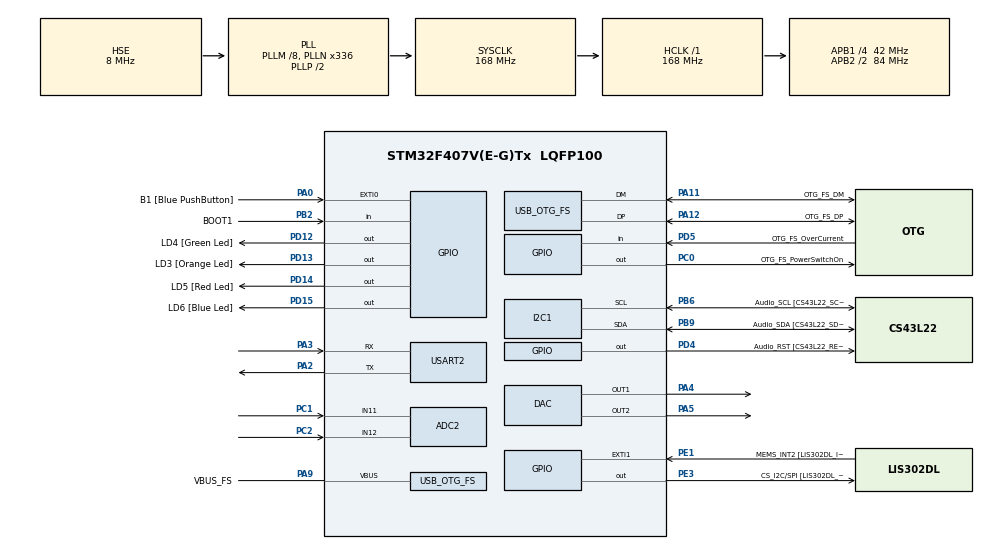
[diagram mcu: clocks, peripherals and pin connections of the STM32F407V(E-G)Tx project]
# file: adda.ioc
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ADC1.Channel-1\#ChannelRegularConversion=ADC_CHANNEL_11
ADC1.NbrOfConversionFlag=1
ADC1.Rank-1\#ChannelRegularConversion=1
ADC1.SamplingTime-1\#ChannelRegularConversion=ADC_SAMPLETIME_3CYCLES
ADC1.master=1
ADC2.Channel-0\#ChannelRegularConversion=ADC_CHANNEL_12
ADC2.NbrOfConversionFlag=1
ADC2.Rank-0\#ChannelRegularConversion=1
ADC2.SamplingTime-0\#ChannelRegularConversion=ADC_SAMPLETIME_3CYCLES
Mcu.Family=STM32F4
Mcu.Name=STM32F407V(E-G)Tx
Mcu.Package=LQFP100
NVIC.OTG_FS_IRQn=true\:0\:0\:false\:false\:true\:true\:true\:true
NVIC.PriorityGroup=NVIC_PRIORITYGROUP_0
NVIC.TIM3_IRQn=true\:0\:0\:false\:false\:true\:true\:true\:true
NVIC.TIM7_IRQn=true\:0\:0\:false\:false\:true\:true\:true\:true
PA0-WKUP.GPIO_Label=B1 [Blue PushButton]
PA0-WKUP.GPIO_ModeDefaultEXTI=GPIO_MODE_EVT_RISING
PA0-WKUP.GPIO_PuPd=GPIO_NOPULL
PA0-WKUP.Signal=GPXTI0
PA10.GPIO_Label=OTG_FS_ID
PA10.GPIO_Mode=GPIO_MODE_AF_PP
PA10.GPIO_PuPd=GPIO_NOPULL
PA10.GPIO_Speed=GPIO_SPEED_FREQ_LOW
PA10.Signal=USB_OTG_FS_ID
PA11.GPIO_Label=OTG_FS_DM
PA11.GPIO_Mode=GPIO_MODE_AF_PP
PA11.GPIO_PuPd=GPIO_NOPULL
PA11.GPIO_Speed=GPIO_SPEED_FREQ_LOW
PA11.Mode=Host_Only
PA11.Signal=USB_OTG_FS_DM
PA12.GPIO_Label=OTG_FS_DP
PA12.GPIO_Mode=GPIO_MODE_AF_PP
PA12.GPIO_PuPd=GPIO_NOPULL
PA12.GPIO_Speed=GPIO_SPEED_FREQ_LOW
PA12.Mode=Host_Only
PA12.Signal=USB_OTG_FS_DP
PA13.GPIO_Label=SWDIO
PA13.Mode=Serial_Wire
PA13.Signal=SYS_JTMS-SWDIO
PA14.GPIO_Label=SWCLK
PA14.Mode=Serial_Wire
PA14.Signal=SYS_JTCK-SWCLK
PA2.Mode=Asynchronous
PA2.Signal=USART2_TX
PA3.Mode=Asynchronous
PA3.Signal=USART2_RX
PA4.Signal=COMP_DAC1_group
PA5.Signal=COMP_DAC2_group
PA6.GPIO_Label=SPI1_MISO [LIS302DL_SDO]
PA6.GPIO_Mode=GPIO_MODE_AF_PP
PA6.GPIO_PuPd=GPIO_NOPULL
PA6.GPIO_Speed=GPIO_SPEED_FREQ_LOW
PA6.Signal=SPI1_MISO
PA7.GPIO_Label=SPI1_MOSI [LIS302DL_SDA/SDI/SDO]
PA7.GPIO_Mode=GPIO_MODE_AF_PP
PA7.GPIO_PuPd=GPIO_NOPULL
PA7.GPIO_Speed=GPIO_SPEED_FREQ_LOW
PA7.Signal=SPI1_MOSI
PA9.GPIO_Label=VBUS_FS
PA9.GPIO_Mode=GPIO_MODE_INPUT
PA9.GPIO_PuPd=GPIO_NOPULL
PA9.Mode=Activate_VBUS
PA9.Signal=USB_OTG_FS_VBUS
PB10.GPIO_Label=CLK_IN [MP45DT02_CLK]
PB10.GPIO_Mode=GPIO_MODE_AF_PP
PB10.GPIO_PuPd=GPIO_NOPULL
PB10.GPIO_Speed=GPIO_SPEED_FREQ_LOW
PB10.Signal=I2S2_CK
PB2.GPIO_Label=BOOT1
PB2.GPIO_Mode=GPIO_MODE_INPUT
PB2.GPIO_PuPd=GPIO_NOPULL
PB2.Signal=GPIO_Input
PB3.GPIO_Label=SWO
PB3.Signal=SYS_JTDO-SWO
PB6.GPIO_Label=Audio_SCL [CS43L22_SCL]
PB6.GPIO_Mode=GPIO_MODE_AF_OD
PB6.GPIO_Pu=GPIO_PULLUP
PB6.GPIO_PuPd=GPIO_NOPULL
PB6.GPIO_Speed=GPIO_SPEED_FREQ_LOW
PB6.Mode=I2C
PB6.Signal=I2C1_SCL
PB9.GPIO_Label=Audio_SDA [CS43L22_SDA]
PB9.GPIO_Mode=GPIO_MODE_AF_OD
PB9.GPIO_Pu=GPIO_PULLUP
PB9.GPIO_PuPd=GPIO_NOPULL
PB9.GPIO_Speed=GPIO_SPEED_FREQ_LOW
PB9.Mode=I2C
PB9.Signal=I2C1_SDA
PC0.GPIO_Label=OTG_FS_PowerSwitchOn
PC0.GPIO_PuPd=GPIO_NOPULL
PC0.GPIO_Speed=GPIO_SPEED_FREQ_LOW
PC0.PinState=GPIO_PIN_SET
PC0.Signal=GPIO_Output
PC1.Signal=ADCx_IN11
PC10.GPIO_Label=I2S3_SCK [CS43L22_SCLK]
PC10.GPIO_Mode=GPIO_MODE_AF_PP
PC10.GPIO_PuPd=GPIO_NOPULL
PC10.GPIO_Speed=GPIO_SPEED_FREQ_LOW
PC10.Signal=I2S3_CK
PC12.GPIO_Label=I2S3_SD [CS43L22_SDIN]
PC12.GPIO_Mode=GPIO_MODE_AF_PP
PC12.GPIO_PuPd=GPIO_NOPULL
PC12.GPIO_Speed=GPIO_SPEED_FREQ_LOW
PC12.Signal=I2S3_SD
PC14-OSC32_IN.GPIO_Label=PC14-OSC32_IN
PC14-OSC32_IN.Mode=LSE-External-Oscillator
PC14-OSC32_IN.Signal=RCC_OSC32_IN
PC15-OSC32_OUT.GPIO_Label=PC15-OSC32_OUT
PC15-OSC32_OUT.Mode=LSE-External-Oscillator
PC15-OSC32_OUT.Signal=RCC_OSC32_OUT
PC2.Signal=ADCx_IN12
PC3.GPIO_Label=PDM_OUT [MP45DT02_DOUT]
PC3.GPIO_Mode=GPIO_MODE_AF_PP
PC3.GPIO_PuPd=GPIO_NOPULL
PC3.GPIO_Speed=GPIO_SPEED_FREQ_LOW
PC3.Signal=I2S2_SD
PC7.GPIO_Label=I2S3_MCK [CS43L22_MCLK]
PC7.GPIO_Mode=GPIO_MODE_AF_PP
PC7.GPIO_PuPd=GPIO_NOPULL
PC7.GPIO_Speed=GPIO_SPEED_FREQ_LOW
PC7.Signal=I2S3_MCK
PD12.GPIO_Label=LD4 [Green Led]
PD12.GPIO_PuPd=GPIO_NOPULL
PD12.GPIO_Speed=GPIO_SPEED_FREQ_LOW
PD12.Signal=GPIO_Output
PD13.GPIO_Label=LD3 [Orange Led]
PD13.GPIO_PuPd=GPIO_NOPULL
PD13.GPIO_Speed=GPIO_SPEED_FREQ_LOW
PD13.Signal=GPIO_Output
PD14.GPIO_Label=LD5 [Red Led]
PD14.GPIO_PuPd=GPIO_NOPULL
PD14.GPIO_Speed=GPIO_SPEED_FREQ_LOW
PD14.Signal=GPIO_Output
PD15.GPIO_Label=LD6 [Blue Led]
PD15.GPIO_PuPd=GPIO_NOPULL
PD15.GPIO_Speed=GPIO_SPEED_FREQ_LOW
PD15.Signal=GPIO_Output
PD4.GPIO_Label=Audio_RST [CS43L22_RESET]
PD4.GPIO_PuPd=GPIO_NOPULL
PD4.GPIO_Speed=GPIO_SPEED_FREQ_LOW
PD4.Signal=GPIO_Output
PD5.GPIO_Label=OTG_FS_OverCurrent
PD5.GPIO_Mode=GPIO_MODE_INPUT
PD5.GPIO_PuPd=GPIO_NOPULL
PD5.Signal=GPIO_Input
PE1.GPIO_Label=MEMS_INT2 [LIS302DL_INT2]
PE1.GPIO_ModeDefaultEXTI=GPIO_MODE_EVT_RISING
PE1.GPIO_PuPd=GPIO_NOPULL
PE1.Signal=GPXTI1
PE3.GPIO_Label=CS_I2C/SPI [LIS302DL_CS_I2C/SPI]
PE3.GPIO_PuPd=GPIO_NOPULL
PE3.GPIO_Speed=GPIO_SPEED_FREQ_LOW
PE3.Signal=GPIO_Output
PH0-OSC_IN.GPIO_Label=PH0-OSC_IN
PH0-OSC_IN.Mode=HSE-External-Oscillator
PH0-OSC_IN.Signal=RCC_OSC_IN
PH1-OSC_OUT.GPIO_Label=PH1-OSC_OUT
PH1-OSC_OUT.Mode=HSE-External-Oscillator
PH1-OSC_OUT.Signal=RCC_OSC_OUT
ProjectManager.HeapSize=0x200
ProjectManager.StackSize=0x400
ProjectManager.TargetToolchain=STM32CubeIDE
RCC.48MHZClocksFreq_Value=48000000
RCC.AHBFreq_Value=168000000
RCC.APB1CLKDivider=RCC_HCLK_DIV4
RCC.APB1Freq_Value=42000000
RCC.APB1TimFreq_Value=84000000
RCC.APB2CLKDivider=RCC_HCLK_DIV2
RCC.APB2Freq_Value=84000000
RCC.APB2TimFreq_Value=168000000
RCC.CortexFreq_Value=168000000
RCC.HCLKFreq_Value=168000000
RCC.HSE_VALUE=8000000
RCC.HSI_VALUE=16000000
RCC.PLLM=8
RCC.PLLN=336
RCC.PLLQ=7
RCC.SYSCLKFreq_VALUE=168000000
RCC.SYSCLKSource=RCC_SYSCLKSOURCE_PLLCLK
RCC.VCOOutputFreq_Value=336000000
SH.ADCx_IN11.0=ADC2_IN11,IN11
SH.ADCx_IN11.1=ADC1_IN11,IN11
SH.ADCx_IN12.0=ADC2_IN12,IN12
SH.COMP_DAC1_group.0=DAC_OUT1,DAC_OUT1
SH.COMP_DAC2_group.0=DAC_OUT2,DAC_OUT2
TIM3.AutoReloadPreload=TIM_AUTORELOAD_PRELOAD_ENABLE
TIM3.Period=100-1
TIM3.Prescaler=420-1
TIM7.AutoReloadPreload=TIM_AUTORELOAD_PRELOAD_ENABLE
TIM7.Period=1000-1
TIM7.Prescaler=2800-1
USART2.VirtualMode=VM_ASYNC
USB_HOST.BSP.number=1
USB_HOST.USBH_HandleTypeDef-CDC_FS=hUsbHostFS
USB_HOST.VirtualModeFS=Cdc
USB_HOST0.BSP.STBoard=false
USB_HOST0.BSP.api=Unknown
USB_HOST0.BSP.instance=PC0
USB_HOST0.BSP.ip=GPIO
USB_HOST0.BSP.mode=Output
USB_HOST0.BSP.name=Drive_VBUS_FS
USB_HOST0.BSP.solution=PC0
USB_OTG_FS.VirtualMode=Host_Only
USB_OTG_FS.phy_itface=HCD_PHY_EMBEDDED
VP_TIM3_VS_ClockSourceINT.Mode=Internal
VP_TIM7_VS_ClockSourceINT.Mode=Enable_Timer
VP_USB_HOST_VS_USB_HOST_CDC_FS.Mode=CDC_FS
board=STM32F407G-DISC1

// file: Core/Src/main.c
/* USER CODE BEGIN Header */
/**
  ******************************************************************************
  * @file           : main.c
  * @brief          : Main program body
  ******************************************************************************
  * @attention  	: example AD DA VEPROF2B 2020
  * 				: read the manual DATASHEET CORTEX M4-BOARD
  * 				: Timer 3 interrupt and DUAL AD DA
  * @author			: J.F van der Bent
  * <h2><center>&copy; Copyright (c) 2020 STMicroelectronics.
  * All rights reserved.</center></h2>
  *
  * This software component is licensed by ST under Ultimate Liberty license
  * SLA0044, the "License"; You may not use this file except in compliance with
  * the License. You may obtain a copy of the License at:
  *                             www.st.com/SLA0044
  *
  ******************************************************************************
  */
/* USER CODE END Header */
#include "main.h"
#include "usb_host.h"

/* USER CODE BEGIN Includes */
#include "math.h"
#include "stdbool.h"

/* USER CODE END Includes */

ADC_HandleTypeDef hadc1;
ADC_HandleTypeDef hadc2;

DAC_HandleTypeDef hdac;

I2C_HandleTypeDef hi2c1;

TIM_HandleTypeDef htim3;
TIM_HandleTypeDef htim7;

UART_HandleTypeDef huart2;

/* USER CODE BEGIN PV */

extern float samples[];
extern bool buffer_full;

int start_freqs[] 	= {100, 200, 300, 400, 500, 600, 700, 800};
int end_freqs[] 	= {200, 300, 400, 500, 600, 700, 800, 900};
float max_amplitudes[8];
uint8_t scaled_amplitudes[8];

uint8_t Message[10];

/* USER CODE END PV */

void SystemClock_Config(void);
static void MX_GPIO_Init(void);
static void MX_I2C1_Init(void);
static void MX_ADC1_Init(void);
static void MX_ADC2_Init(void);
static void MX_DAC_Init(void);
static void MX_TIM3_Init(void);
static void MX_USART2_UART_Init(void);
static void MX_TIM7_Init(void);
void MX_USB_HOST_Process(void);

/* USER CODE BEGIN 0 */

void compute_dft_max_amplitudes(float *samples, int signal_length, float sample_rate, int *start_freqs, int *end_freqs, int num_bands, float *max_amplitudes) {
    HAL_GPIO_WritePin(GPIOD, LD4_Pin, GPIO_PIN_SET);

    float two_pi_over_N = 2.0f * M_PI / signal_length;

    for (int band = 0; band < num_bands; band++) {
        int start_freq = start_freqs[band];
        int end_freq = end_freqs[band];

        // Bereken DFT-indexen voor deze band
        int k_start = (int)(start_freq * signal_length / sample_rate);
        int k_end = (int)(end_freq * signal_length / sample_rate);

        float max_amplitude_squared = 0.0f;

        for (int k = k_start; k <= k_end; k++) {
            float real_part = 0.0f;
            float imag_part = 0.0f;
            float angle_increment = two_pi_over_N * k;
            float cos_angle = 1.0f; // cos(0)
            float sin_angle = 0.0f; // sin(0)
            float cos_step = cosf(angle_increment);
            float sin_step = sinf(angle_increment);

            for (int n = 0; n < signal_length; n++) {
                float sample = samples[n];

                // Update real en imaginary
                real_part += sample * cos_angle;
                imag_part += -sample * sin_angle;

                // Update hoeken
                float new_cos = cos_angle * cos_step - sin_angle * sin_step;
                float new_sin = cos_angle * sin_step + sin_angle * cos_step;
                cos_angle = new_cos;
                sin_angle = new_sin;
            }

            // Bereken amplitude^2
            float amplitude_squared = (real_part * real_part + imag_part * imag_part) / (signal_length * signal_length);

            // Update maximale amplitude^2
            if (amplitude_squared > max_amplitude_squared) {
                max_amplitude_squared = amplitude_squared;
            }
        }

        max_amplitudes[band] = sqrtf(max_amplitude_squared);
    }

    HAL_GPIO_WritePin(GPIOD, LD4_Pin, GPIO_PIN_RESET);
}

#include <stdint.h>

void scale_amplitudes_with_decay(float *max_amplitudes, int num_bands, float input_min, float input_max, int output_min, int output_max, uint8_t *scaled_amplitudes, float decay_factor) {
    // Bereken de schaalfactor
    float input_range = input_max - input_min;
    float output_range = output_max - output_min;

    // Controleer op een geldig invoerbereik
    if (input_range <= 0.0f) {
        for (int i = 0; i < num_bands; i++) {
            scaled_amplitudes[i] = output_min; // Als het bereik ongeldig is, stel alles in op de minimumwaarde.
        }
        return;
    }

    for (int i = 0; i < num_bands; i++) {
        // Schaal en beperk de amplitude
        float normalized = (max_amplitudes[i] - input_min) / input_range;
        if (normalized < 0.0f) normalized = 0.0f; // Zorg dat de waarde niet onder 0 gaat
        if (normalized > 1.0f) normalized = 1.0f; // Zorg dat de waarde niet boven 1 gaat

        // Schaal naar het uitvoerbereik
        uint8_t scaled_value = (uint8_t)(normalized * output_range + output_min);

        // Pas de demping toe op de huidige waarde
        if (scaled_value < scaled_amplitudes[i]) {
            // Laat de waarde langzaam dalen met de decay_factor
            scaled_amplitudes[i] -= (scaled_amplitudes[i] - scaled_value) * decay_factor;
        } else {
            // Bij verhoging direct instellen
            scaled_amplitudes[i] = scaled_value;
        }
    }
}

/* USER CODE END 0 */

int main(void)
{

  /* MCU Configuration--------------------------------------------------------*/

  /* Reset of all peripherals, Initializes the Flash interface and the Systick. */
  HAL_Init();

  /* Configure the system clock */
  SystemClock_Config();

  /* Initialize all configured peripherals */
  MX_GPIO_Init();
  MX_I2C1_Init();
  MX_USB_HOST_Init();
  MX_ADC1_Init();
  MX_ADC2_Init();
  MX_DAC_Init();
  MX_TIM3_Init();
  MX_USART2_UART_Init();
  MX_TIM7_Init();
  /* USER CODE BEGIN 2 */
  HAL_TIM_Base_Start_IT(&htim3);				// start the interrupt timer 3
  HAL_TIM_Base_Start_IT(&htim7);				// start the interrupt timer 7
  /* USER CODE END 2 */

  /* Infinite loop */
  /* USER CODE BEGIN WHILE */

  while (1)
    {
	  if (buffer_full)
	      {
	          buffer_full = false;  // Reset de vlag
	          compute_dft_max_amplitudes(samples, SAMPLE_SIZE, SAMPLE_RATE, start_freqs, end_freqs, 8, max_amplitudes);
	          scale_amplitudes_with_decay(max_amplitudes, 8, 0, 300, 0, 254, scaled_amplitudes, 0.2);
	      }

	HAL_Delay(100);
    /* USER CODE END WHILE */
    MX_USB_HOST_Process();

    }
}

void SystemClock_Config(void)
{
  RCC_OscInitTypeDef RCC_OscInitStruct = {0};
  RCC_ClkInitTypeDef RCC_ClkInitStruct = {0};

  /** Configure the main internal regulator output voltage
  */
  __HAL_RCC_PWR_CLK_ENABLE();
  __HAL_PWR_VOLTAGESCALING_CONFIG(PWR_REGULATOR_VOLTAGE_SCALE1);

  /** Initializes the RCC Oscillators according to the specified parameters
  * in the RCC_OscInitTypeDef structure.
  */
  RCC_OscInitStruct.OscillatorType = RCC_OSCILLATORTYPE_HSE;
  RCC_OscInitStruct.HSEState = RCC_HSE_ON;
  RCC_OscInitStruct.PLL.PLLState = RCC_PLL_ON;
  RCC_OscInitStruct.PLL.PLLSource = RCC_PLLSOURCE_HSE;
  RCC_OscInitStruct.PLL.PLLM = 8;
  RCC_OscInitStruct.PLL.PLLN = 336;
  RCC_OscInitStruct.PLL.PLLP = RCC_PLLP_DIV2;
  RCC_OscInitStruct.PLL.PLLQ = 7;
  if (HAL_RCC_OscConfig(&RCC_OscInitStruct) != HAL_OK)
  {
    Error_Handler();
  }

  /** Initializes the CPU, AHB and APB buses clocks
  */
  RCC_ClkInitStruct.ClockType = RCC_CLOCKTYPE_HCLK|RCC_CLOCKTYPE_SYSCLK
                              |RCC_CLOCKTYPE_PCLK1|RCC_CLOCKTYPE_PCLK2;
  RCC_ClkInitStruct.SYSCLKSource = RCC_SYSCLKSOURCE_PLLCLK;
  RCC_ClkInitStruct.AHBCLKDivider = RCC_SYSCLK_DIV1;
  RCC_ClkInitStruct.APB1CLKDivider = RCC_HCLK_DIV4;
  RCC_ClkInitStruct.APB2CLKDivider = RCC_HCLK_DIV2;

  if (HAL_RCC_ClockConfig(&RCC_ClkInitStruct, FLASH_LATENCY_5) != HAL_OK)
  {
    Error_Handler();
  }
}

static void MX_ADC1_Init(void)
{

  ADC_ChannelConfTypeDef sConfig = {0};

  /** Configure the global features of the ADC (Clock, Resolution, Data Alignment and number of conversion)
  */
  hadc1.Instance = ADC1;
  hadc1.Init.ClockPrescaler = ADC_CLOCK_SYNC_PCLK_DIV4;
  hadc1.Init.Resolution = ADC_RESOLUTION_12B;
  hadc1.Init.ScanConvMode = DISABLE;
  hadc1.Init.ContinuousConvMode = DISABLE;
  hadc1.Init.DiscontinuousConvMode = DISABLE;
  hadc1.Init.ExternalTrigConvEdge = ADC_EXTERNALTRIGCONVEDGE_NONE;
  hadc1.Init.ExternalTrigConv = ADC_SOFTWARE_START;
  hadc1.Init.DataAlign = ADC_DATAALIGN_RIGHT;
  hadc1.Init.NbrOfConversion = 1;
  hadc1.Init.DMAContinuousRequests = DISABLE;
  hadc1.Init.EOCSelection = ADC_EOC_SINGLE_CONV;
  if (HAL_ADC_Init(&hadc1) != HAL_OK)
  {
    Error_Handler();
  }

  /** Configure for the selected ADC regular channel its corresponding rank in the sequencer and its sample time.
  */
  sConfig.Channel = ADC_CHANNEL_11;
  sConfig.Rank = 1;
  sConfig.SamplingTime = ADC_SAMPLETIME_3CYCLES;
  if (HAL_ADC_ConfigChannel(&hadc1, &sConfig) != HAL_OK)
  {
    Error_Handler();
  }

}

static void MX_ADC2_Init(void)
{

  ADC_ChannelConfTypeDef sConfig = {0};

  /** Configure the global features of the ADC (Clock, Resolution, Data Alignment and number of conversion)
  */
  hadc2.Instance = ADC2;
  hadc2.Init.ClockPrescaler = ADC_CLOCK_SYNC_PCLK_DIV4;
  hadc2.Init.Resolution = ADC_RESOLUTION_12B;
  hadc2.Init.ScanConvMode = DISABLE;
  hadc2.Init.ContinuousConvMode = DISABLE;
  hadc2.Init.DiscontinuousConvMode = DISABLE;
  hadc2.Init.ExternalTrigConvEdge = ADC_EXTERNALTRIGCONVEDGE_NONE;
  hadc2.Init.ExternalTrigConv = ADC_SOFTWARE_START;
  hadc2.Init.DataAlign = ADC_DATAALIGN_RIGHT;
  hadc2.Init.NbrOfConversion = 1;
  hadc2.Init.DMAContinuousRequests = DISABLE;
  hadc2.Init.EOCSelection = ADC_EOC_SINGLE_CONV;
  if (HAL_ADC_Init(&hadc2) != HAL_OK)
  {
    Error_Handler();
  }

  /** Configure for the selected ADC regular channel its corresponding rank in the sequencer and its sample time.
  */
  sConfig.Channel = ADC_CHANNEL_12;
  sConfig.Rank = 1;
  sConfig.SamplingTime = ADC_SAMPLETIME_3CYCLES;
  if (HAL_ADC_ConfigChannel(&hadc2, &sConfig) != HAL_OK)
  {
    Error_Handler();
  }

}

static void MX_DAC_Init(void)
{

  DAC_ChannelConfTypeDef sConfig = {0};

  /** DAC Initialization
  */
  hdac.Instance = DAC;
  if (HAL_DAC_Init(&hdac) != HAL_OK)
  {
    Error_Handler();
  }

  /** DAC channel OUT1 config
  */
  sConfig.DAC_Trigger = DAC_TRIGGER_NONE;
  sConfig.DAC_OutputBuffer = DAC_OUTPUTBUFFER_ENABLE;
  if (HAL_DAC_ConfigChannel(&hdac, &sConfig, DAC_CHANNEL_1) != HAL_OK)
  {
    Error_Handler();
  }

  /** DAC channel OUT2 config
  */
  if (HAL_DAC_ConfigChannel(&hdac, &sConfig, DAC_CHANNEL_2) != HAL_OK)
  {
    Error_Handler();
  }

}

static void MX_I2C1_Init(void)
{

  hi2c1.Instance = I2C1;
  hi2c1.Init.ClockSpeed = 100000;
  hi2c1.Init.DutyCycle = I2C_DUTYCYCLE_2;
  hi2c1.Init.OwnAddress1 = 0;
  hi2c1.Init.AddressingMode = I2C_ADDRESSINGMODE_7BIT;
  hi2c1.Init.DualAddressMode = I2C_DUALADDRESS_DISABLE;
  hi2c1.Init.OwnAddress2 = 0;
  hi2c1.Init.GeneralCallMode = I2C_GENERALCALL_DISABLE;
  hi2c1.Init.NoStretchMode = I2C_NOSTRETCH_DISABLE;
  if (HAL_I2C_Init(&hi2c1) != HAL_OK)
  {
    Error_Handler();
  }

}

static void MX_TIM3_Init(void)
{

  /* USER CODE BEGIN TIM3_Init 0 */
	// note that the APB timerclock is used. In this example 168MHz/2 = 84MHz
  /* USER CODE END TIM3_Init 0 */

  TIM_ClockConfigTypeDef sClockSourceConfig = {0};
  TIM_MasterConfigTypeDef sMasterConfig = {0};

  /* USER CODE BEGIN TIM3_Init 1 */
  // timer 0.1 sec = 1000*8400 / 84000
  /* USER CODE END TIM3_Init 1 */
  htim3.Instance = TIM3;
  htim3.Init.Prescaler = 420-1;
  htim3.Init.CounterMode = TIM_COUNTERMODE_UP;
  htim3.Init.Period = 100-1;
  htim3.Init.ClockDivision = TIM_CLOCKDIVISION_DIV1;
  htim3.Init.AutoReloadPreload = TIM_AUTORELOAD_PRELOAD_ENABLE;
  if (HAL_TIM_Base_Init(&htim3) != HAL_OK)
  {
    Error_Handler();
  }
  sClockSourceConfig.ClockSource = TIM_CLOCKSOURCE_INTERNAL;
  if (HAL_TIM_ConfigClockSource(&htim3, &sClockSourceConfig) != HAL_OK)
  {
    Error_Handler();
  }
  sMasterConfig.MasterOutputTrigger = TIM_TRGO_RESET;
  sMasterConfig.MasterSlaveMode = TIM_MASTERSLAVEMODE_DISABLE;
  if (HAL_TIMEx_MasterConfigSynchronization(&htim3, &sMasterConfig) != HAL_OK)
  {
    Error_Handler();
  }

}

static void MX_TIM7_Init(void)
{

  TIM_MasterConfigTypeDef sMasterConfig = {0};

  htim7.Instance = TIM7;
  htim7.Init.Prescaler = 2800-1;
  htim7.Init.CounterMode = TIM_COUNTERMODE_UP;
  htim7.Init.Period = 1000-1;
  htim7.Init.AutoReloadPreload = TIM_AUTORELOAD_PRELOAD_ENABLE;
  if (HAL_TIM_Base_Init(&htim7) != HAL_OK)
  {
    Error_Handler();
  }
  sMasterConfig.MasterOutputTrigger = TIM_TRGO_RESET;
  sMasterConfig.MasterSlaveMode = TIM_MASTERSLAVEMODE_DISABLE;
  if (HAL_TIMEx_MasterConfigSynchronization(&htim7, &sMasterConfig) != HAL_OK)
  {
    Error_Handler();
  }

}

static void MX_USART2_UART_Init(void)
{

  huart2.Instance = USART2;
  huart2.Init.BaudRate = 9600;
  huart2.Init.WordLength = UART_WORDLENGTH_8B;
  huart2.Init.StopBits = UART_STOPBITS_1;
  huart2.Init.Parity = UART_PARITY_NONE;
  huart2.Init.Mode = UART_MODE_TX_RX;
  huart2.Init.HwFlowCtl = UART_HWCONTROL_NONE;
  huart2.Init.OverSampling = UART_OVERSAMPLING_16;
  if (HAL_UART_Init(&huart2) != HAL_OK)
  {
    Error_Handler();
  }

}

static void MX_GPIO_Init(void)
{
  GPIO_InitTypeDef GPIO_InitStruct = {0};

  /* GPIO Ports Clock Enable */
  __HAL_RCC_GPIOE_CLK_ENABLE();
  __HAL_RCC_GPIOC_CLK_ENABLE();
  __HAL_RCC_GPIOH_CLK_ENABLE();
  __HAL_RCC_GPIOA_CLK_ENABLE();
  __HAL_RCC_GPIOB_CLK_ENABLE();
  __HAL_RCC_GPIOD_CLK_ENABLE();

  /*Configure GPIO pin Output Level */
  HAL_GPIO_WritePin(CS_I2C_SPI_GPIO_Port, CS_I2C_SPI_Pin, GPIO_PIN_RESET);

  /*Configure GPIO pin Output Level */
  HAL_GPIO_WritePin(OTG_FS_PowerSwitchOn_GPIO_Port, OTG_FS_PowerSwitchOn_Pin, GPIO_PIN_SET);

  /*Configure GPIO pin Output Level */
  HAL_GPIO_WritePin(GPIOD, LD4_Pin|LD3_Pin|LD5_Pin|LD6_Pin
                          |Audio_RST_Pin, GPIO_PIN_RESET);

  /*Configure GPIO pin : CS_I2C_SPI_Pin */
  GPIO_InitStruct.Pin = CS_I2C_SPI_Pin;
  GPIO_InitStruct.Mode = GPIO_MODE_OUTPUT_PP;
  GPIO_InitStruct.Pull = GPIO_NOPULL;
  GPIO_InitStruct.Speed = GPIO_SPEED_FREQ_LOW;
  HAL_GPIO_Init(CS_I2C_SPI_GPIO_Port, &GPIO_InitStruct);

  /*Configure GPIO pin : OTG_FS_PowerSwitchOn_Pin */
  GPIO_InitStruct.Pin = OTG_FS_PowerSwitchOn_Pin;
  GPIO_InitStruct.Mode = GPIO_MODE_OUTPUT_PP;
  GPIO_InitStruct.Pull = GPIO_NOPULL;
  GPIO_InitStruct.Speed = GPIO_SPEED_FREQ_LOW;
  HAL_GPIO_Init(OTG_FS_PowerSwitchOn_GPIO_Port, &GPIO_InitStruct);

  /*Configure GPIO pin : PDM_OUT_Pin */
  GPIO_InitStruct.Pin = PDM_OUT_Pin;
  GPIO_InitStruct.Mode = GPIO_MODE_AF_PP;
  GPIO_InitStruct.Pull = GPIO_NOPULL;
  GPIO_InitStruct.Speed = GPIO_SPEED_FREQ_LOW;
  GPIO_InitStruct.Alternate = GPIO_AF5_SPI2;
  HAL_GPIO_Init(PDM_OUT_GPIO_Port, &GPIO_InitStruct);

  /*Configure GPIO pin : B1_Pin */
  GPIO_InitStruct.Pin = B1_Pin;
  GPIO_InitStruct.Mode = GPIO_MODE_EVT_RISING;
  GPIO_InitStruct.Pull = GPIO_NOPULL;
  HAL_GPIO_Init(B1_GPIO_Port, &GPIO_InitStruct);

  /*Configure GPIO pins : SPI1_MISO_Pin SPI1_MOSI_Pin */
  GPIO_InitStruct.Pin = SPI1_MISO_Pin|SPI1_MOSI_Pin;
  GPIO_InitStruct.Mode = GPIO_MODE_AF_PP;
  GPIO_InitStruct.Pull = GPIO_NOPULL;
  GPIO_InitStruct.Speed = GPIO_SPEED_FREQ_LOW;
  GPIO_InitStruct.Alternate = GPIO_AF5_SPI1;
  HAL_GPIO_Init(GPIOA, &GPIO_InitStruct);

  /*Configure GPIO pin : BOOT1_Pin */
  GPIO_InitStruct.Pin = BOOT1_Pin;
  GPIO_InitStruct.Mode = GPIO_MODE_INPUT;
  GPIO_InitStruct.Pull = GPIO_NOPULL;
  HAL_GPIO_Init(BOOT1_GPIO_Port, &GPIO_InitStruct);

  /*Configure GPIO pin : CLK_IN_Pin */
  GPIO_InitStruct.Pin = CLK_IN_Pin;
  GPIO_InitStruct.Mode = GPIO_MODE_AF_PP;
  GPIO_InitStruct.Pull = GPIO_NOPULL;
  GPIO_InitStruct.Speed = GPIO_SPEED_FREQ_LOW;
  GPIO_InitStruct.Alternate = GPIO_AF5_SPI2;
  HAL_GPIO_Init(CLK_IN_GPIO_Port, &GPIO_InitStruct);

  /*Configure GPIO pins : LD4_Pin LD3_Pin LD5_Pin LD6_Pin
                           Audio_RST_Pin */
  GPIO_InitStruct.Pin = LD4_Pin|LD3_Pin|LD5_Pin|LD6_Pin
                          |Audio_RST_Pin;
  GPIO_InitStruct.Mode = GPIO_MODE_OUTPUT_PP;
  GPIO_InitStruct.Pull = GPIO_NOPULL;
  GPIO_InitStruct.Speed = GPIO_SPEED_FREQ_LOW;
  HAL_GPIO_Init(GPIOD, &GPIO_InitStruct);

  /*Configure GPIO pins : I2S3_MCK_Pin I2S3_SCK_Pin I2S3_SD_Pin */
  GPIO_InitStruct.Pin = I2S3_MCK_Pin|I2S3_SCK_Pin|I2S3_SD_Pin;
  GPIO_InitStruct.Mode = GPIO_MODE_AF_PP;
  GPIO_InitStruct.Pull = GPIO_NOPULL;
  GPIO_InitStruct.Speed = GPIO_SPEED_FREQ_LOW;
  GPIO_InitStruct.Alternate = GPIO_AF6_SPI3;
  HAL_GPIO_Init(GPIOC, &GPIO_InitStruct);

  /*Configure GPIO pin : OTG_FS_OverCurrent_Pin */
  GPIO_InitStruct.Pin = OTG_FS_OverCurrent_Pin;
  GPIO_InitStruct.Mode = GPIO_MODE_INPUT;
  GPIO_InitStruct.Pull = GPIO_NOPULL;
  HAL_GPIO_Init(OTG_FS_OverCurrent_GPIO_Port, &GPIO_InitStruct);

  /*Configure GPIO pin : MEMS_INT2_Pin */
  GPIO_InitStruct.Pin = MEMS_INT2_Pin;
  GPIO_InitStruct.Mode = GPIO_MODE_EVT_RISING;
  GPIO_InitStruct.Pull = GPIO_NOPULL;
  HAL_GPIO_Init(MEMS_INT2_GPIO_Port, &GPIO_InitStruct);

}

void Error_Handler(void)
{
}
